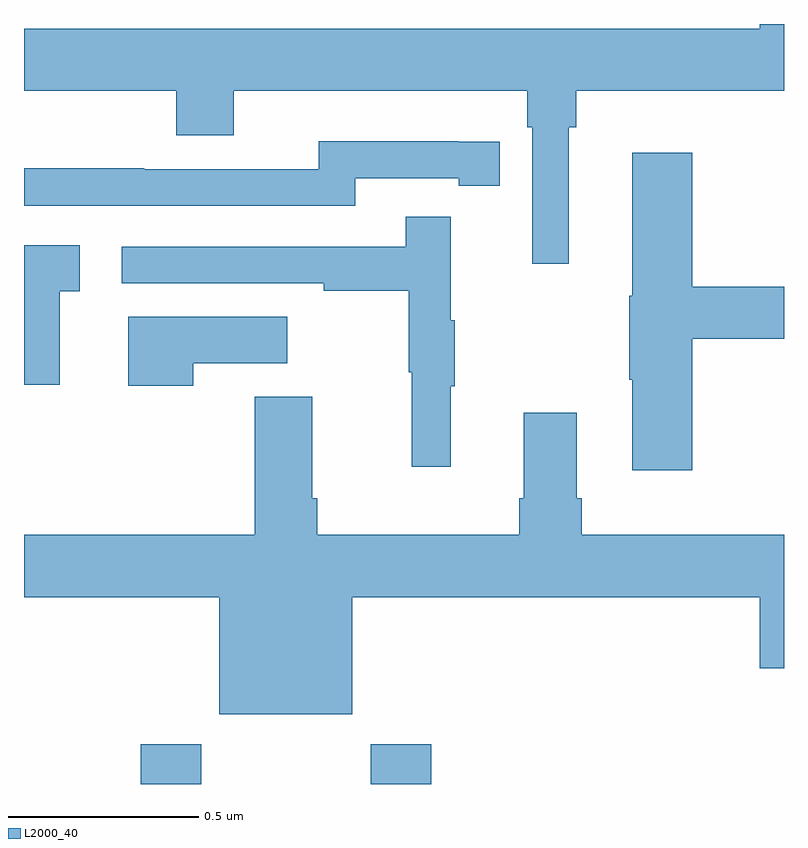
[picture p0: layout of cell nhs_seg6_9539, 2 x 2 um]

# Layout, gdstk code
import gdstk
lib = gdstk.Library(unit=1e-6, precision=1e-09)
def R(c, l, rs):  # rectangles x0, y0, x1, y1
    for r in rs: c.add(gdstk.rectangle(r[:2], r[2:], *l))
def P(c, l, *ps):  # polygons
    for p in ps: c.add(gdstk.Polygon(p, *l))
L2000_40 = (2000, 40)

nhs_seg6_9539 = lib.new_cell('nhs_seg6_9539')
R(nhs_seg6_9539, L2000_40, [(235.307,957.5,235.467,957.604), (235.912,957.5,236.072,957.604)])
P(nhs_seg6_9539, L2000_40, [(236.434,959.228),(236.453,959.228),(236.453,959.324),(237,959.324),(237,959.5),(236.936,959.5),(236.936,959.488),(235,959.488),(235,959.324),(235.4,959.324),(235.4,959.207),(235.552,959.207),(235.552,959.324),(236.324,959.324),(236.324,959.228),(236.337,959.228),(236.337,958.869),(236.434,958.869)],
  [(235.872,959.094),(236.144,959.094),(236.144,959.074),(236.252,959.074),(236.252,959.19),(236.144,959.19),(236.144,959.191),(235.776,959.191),(235.776,959.118),(235.316,959.118),(235.316,959.12),(235,959.12),(235,959.022),(235.872,959.022)],
  [(236.759,958.672),(237,958.672),(237,958.808),(236.759,958.808),(236.759,959.161),(236.6,959.161),(236.6,958.785),(236.593,958.785),(236.593,958.564),(236.6,958.564),(236.6,958.326),(236.759,958.326)],
  [(236.123,958.547),(236.134,958.547),(236.134,958.721),(236.123,958.721),(236.123,958.993),(236.005,958.993),(236.005,958.914),(235.257,958.914),(235.257,958.818),(235.789,958.818),(235.789,958.798),(236.013,958.798),(236.013,958.584),(236.02,958.584),(236.02,958.335),(236.123,958.335)],
  [(235.094,958.797),(235.147,958.797),(235.147,958.918),(235,958.918),(235,958.551),(235.094,958.551)],
  [(235.445,958.607),(235.693,958.607),(235.693,958.729),(235.274,958.729),(235.274,958.548),(235.445,958.548)],
  [(235.864,957.992),(236.936,957.992),(236.936,957.804),(237,957.804),(237,958.156),(236.468,958.156),(236.468,958.252),(236.455,958.252),(236.455,958.477),(236.315,958.477),(236.315,958.252),(236.303,958.252),(236.303,958.156),(235.772,958.156),(235.772,958.252),(235.759,958.252),(235.759,958.519),(235.607,958.519),(235.607,958.156),(235,958.156),(235,957.992),(235.514,957.992),(235.514,957.683),(235.864,957.683)])

lib.write_gds('nhs_seg6_9539.gds')
